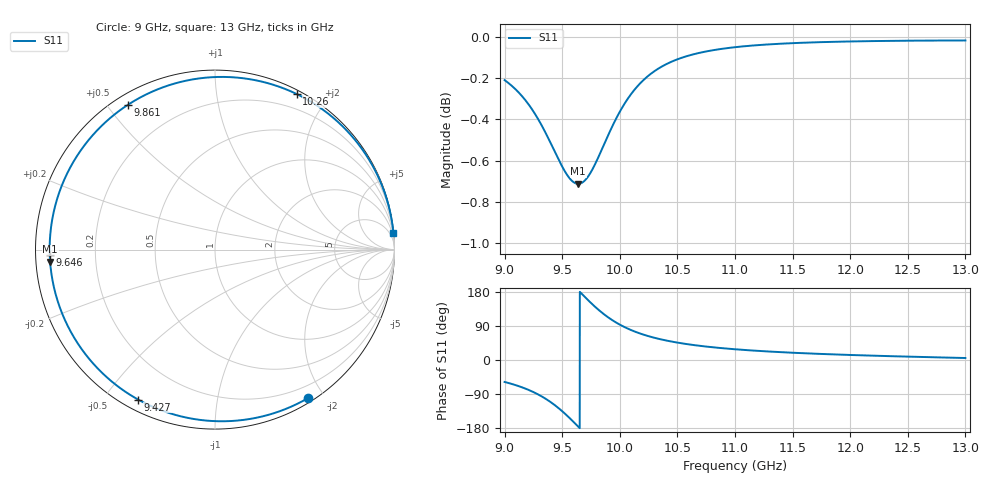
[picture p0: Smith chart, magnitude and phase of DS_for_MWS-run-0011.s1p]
! TOUCHSTONE file generated by CST DESIGN STUDIO
! Date and time: Tue Feb  4 13:08:20 2025
! Project name: C:\Work\MatlabApps\UnitCellOptimizationMatlab\CST\unitcell.cst
! Tree item: Tasks\Sweep1\SPara1\S-Parameters
! Header version: 2024
! Port assignment regex: !\s*Touchstone port\s*([0-9]+)\s*=\s*(CST MWS port|CST DES external port|CST DES block port)\s*(.+)\s* \(\"(.*)\"\)(\s*mode\s*([0-9]+))?.*
! Touchstone port assignment:
! Touchstone port 1 = CST DES external port 1 ("")
# GHz S MA R 50
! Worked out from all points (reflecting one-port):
!   4001 points, 9 GHz to 13 GHz, reference 50 ohm
!   lowest |S11| = -0.7 dB at 9.639 GHz (marker M1), VSWR 24.37, Z = 2.05 - j1.81 ohm
!   phase of S11 starts at -58 deg and turns -297 deg over the sweep
!   S11 on the Smith chart (normalised r, x): 9 GHz: 0.05, -1.80; 9.427 GHz: 0.04, -0.61; 9.646 GHz: 0.04, -0.02; 9.861 GHz: 0.04, +0.56; 10.26 GHz: 0.04, +1.65; 13 GHz: 0, +22
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9  0.9762 -58.0
9.109  0.9704 -67.6
9.217  0.9623 -80.1
9.333  0.9505 -98.0
9.382  0.9446 -107.4
9.427  0.939 -117.1
9.464  0.9344 -125.9
9.5  0.9301 -135.1
9.575  0.9233 -156.3
9.608  0.9217 -166.3
9.639  0.9212 -175.8
9.646  0.9212 -178.0
9.691  0.9226 168.1
9.739  0.9262 153.6
9.801  0.9333 136.2
9.861  0.9414 121.1
9.926  0.9502 106.9
10  0.9591 93.3
10.123  0.9706 75.9
10.256  0.979 62.3
10.37  0.9839 53.6
10.5  0.9877 45.9
10.719  0.9916 36.5
11  0.9944 28.3
11.5  0.9966 19.2
12  0.9976 13.3
12.5  0.998 8.9
13  0.9981 5.3
